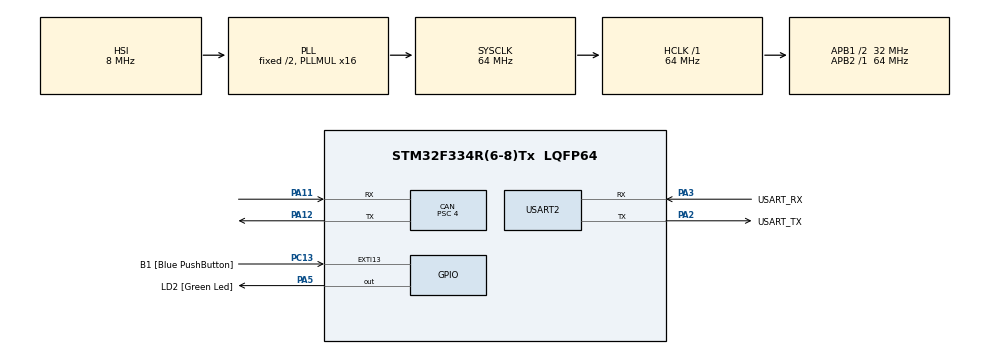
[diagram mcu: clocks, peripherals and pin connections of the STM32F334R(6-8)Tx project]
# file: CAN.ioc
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CAN.ABOM=ENABLE
CAN.BS1=CAN_BS1_13TQ
CAN.BS2=CAN_BS2_4TQ
CAN.CalculateBaudRate=444444
CAN.CalculateTimeBit=2250
CAN.CalculateTimeQuantum=125.0
CAN.Mode=CAN_MODE_LOOPBACK
CAN.NART=ENABLE
CAN.Prescaler=4
Mcu.Family=STM32F3
Mcu.Name=STM32F334R(6-8)Tx
Mcu.Package=LQFP64
NVIC.CAN_RX0_IRQn=true\:0\:0\:false\:false\:true\:true\:true\:true
NVIC.PriorityGroup=NVIC_PRIORITYGROUP_0
PA11.Mode=CAN_Activate
PA11.Signal=CAN_RX
PA12.Mode=CAN_Activate
PA12.Signal=CAN_TX
PA13.GPIO_Label=TMS
PA13.Mode=Serial_Wire
PA13.Signal=SYS_JTMS-SWDIO
PA14.GPIO_Label=TCK
PA14.Mode=Serial_Wire
PA14.Signal=SYS_JTCK-SWCLK
PA2.GPIO_Label=USART_TX
PA2.Mode=Asynchronous
PA2.Signal=USART2_TX
PA3.GPIO_Label=USART_RX
PA3.Mode=Asynchronous
PA3.Signal=USART2_RX
PA5.GPIO_Label=LD2 [Green Led]
PA5.Signal=GPIO_Output
PB3.GPIO_Label=SWO
PB3.Signal=SYS_JTDO-TRACESWO
PC13.GPIO_Label=B1 [Blue PushButton]
PC13.GPIO_ModeDefaultEXTI=GPIO_MODE_IT_FALLING
PC13.Signal=GPXTI13
PC14\ /\ OSC32_IN.Mode=LSE-External-Oscillator
PC14\ /\ OSC32_IN.Signal=RCC_OSC32_IN
PC15\ /\ OSC32_OUT.GPIO_Label=RCC_OSC32_OUT
PC15\ /\ OSC32_OUT.Mode=LSE-External-Oscillator
PC15\ /\ OSC32_OUT.Signal=RCC_OSC32_OUT
PF0\ /\ OSC_IN.Mode=HSE-External-Clock-Source
PF0\ /\ OSC_IN.Signal=RCC_OSC_IN
PF1\ /\ OSC_OUT.Signal=RCC_OSC_OUT
ProjectManager.HeapSize=0x200
ProjectManager.StackSize=0x400
ProjectManager.TargetToolchain=CMake
RCC.AHBFreq_Value=64000000
RCC.APB1CLKDivider=RCC_HCLK_DIV2
RCC.APB1Freq_Value=32000000
RCC.APB1TimFreq_Value=64000000
RCC.APB2Freq_Value=64000000
RCC.APB2TimFreq_Value=64000000
RCC.CortexFreq_Value=64000000
RCC.FLatency-AdvancedSettings=FLASH_LATENCY_2
RCC.HCLKFreq_Value=64000000
RCC.HSE_VALUE=8000000
RCC.HSI_VALUE=8000000
RCC.PLLMUL=RCC_PLL_MUL16
RCC.SYSCLKFreq_VALUE=64000000
RCC.SYSCLKSourceVirtual=RCC_SYSCLKSOURCE_PLLCLK
USART2.VirtualMode-Asynchronous=VM_ASYNC
board=NUCLEO-F334R8

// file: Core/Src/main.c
/* USER CODE BEGIN Header */
/**
  ******************************************************************************
  * @file           : main.c
  * @brief          : Main program body
  ******************************************************************************
  * @attention
  *
  * Copyright (c) 2026 STMicroelectronics.
  * All rights reserved.
  *
  * This software is licensed under terms that can be found in the LICENSE file
  * in the root directory of this software component.
  * If no LICENSE file comes with this software, it is provided AS-IS.
  *
  ******************************************************************************
  */
/* USER CODE END Header */
#include "main.h"
#include "can.h"
#include "stm32f3xx_hal_can.h"
#include "usart.h"
#include "gpio.h"

/* USER CODE BEGIN PV */
CAN_FilterTypeDef sFilterConfig;
CAN_TxHeaderTypeDef TxHeader;
uint8_t TxData[8] = {8, 4, 5, 8, 8, 6, 2, 4};
uint32_t TxMailbox;

CAN_RxHeaderTypeDef RxHeader;
uint8_t RxData[8];

/* USER CODE END PV */

void SystemClock_Config(void);

int main(void)
{

  /* MCU Configuration--------------------------------------------------------*/

  /* Reset of all peripherals, Initializes the Flash interface and the Systick. */
  HAL_Init();

  /* Configure the system clock */
  SystemClock_Config();

  /* Initialize all configured peripherals */
  MX_GPIO_Init();
  MX_CAN_Init();
  MX_USART2_UART_Init();
  /* USER CODE BEGIN 2 */
  sFilterConfig.FilterBank = 0;
  sFilterConfig.FilterMode = CAN_FILTERMODE_IDMASK;
  sFilterConfig.FilterScale = CAN_FILTERSCALE_32BIT;
  sFilterConfig.FilterIdHigh = 0x0000;
  sFilterConfig.FilterIdLow = 0x0000;
  sFilterConfig.FilterMaskIdHigh = 0x0000;
  sFilterConfig.FilterMaskIdLow = 0x0000;
  sFilterConfig.FilterFIFOAssignment = CAN_FILTER_FIFO0;
  sFilterConfig.FilterActivation = ENABLE;
  sFilterConfig.SlaveStartFilterBank = 14;

  HAL_CAN_ConfigFilter(&hcan, &sFilterConfig);

  HAL_CAN_Start(&hcan);

  HAL_CAN_ActivateNotification(&hcan, CAN_IT_RX_FIFO0_MSG_PENDING);

  TxHeader.StdId = 0x123;
  TxHeader.ExtId = 0x00;
  TxHeader.RTR = CAN_RTR_DATA;
  TxHeader.IDE = CAN_ID_STD;
  TxHeader.DLC = 8;
  TxHeader.TransmitGlobalTime = DISABLE;

  HAL_CAN_AddTxMessage(&hcan, &TxHeader, TxData, &TxMailbox);

  /* USER CODE END 2 */

  /* Infinite loop */
  while (1)
  {

    /* USER CODE BEGIN 3 */
    HAL_CAN_AddTxMessage(&hcan, &TxHeader, TxData, &TxMailbox);
    HAL_Delay(500);
  }
  /* USER CODE END 3 */
}

void SystemClock_Config(void)
{
  RCC_OscInitTypeDef RCC_OscInitStruct = {0};
  RCC_ClkInitTypeDef RCC_ClkInitStruct = {0};

  /** Initializes the RCC Oscillators according to the specified parameters
  * in the RCC_OscInitTypeDef structure.
  */
  RCC_OscInitStruct.OscillatorType = RCC_OSCILLATORTYPE_HSI;
  RCC_OscInitStruct.HSIState = RCC_HSI_ON;
  RCC_OscInitStruct.HSICalibrationValue = RCC_HSICALIBRATION_DEFAULT;
  RCC_OscInitStruct.PLL.PLLState = RCC_PLL_ON;
  RCC_OscInitStruct.PLL.PLLSource = RCC_PLLSOURCE_HSI;
  RCC_OscInitStruct.PLL.PLLMUL = RCC_PLL_MUL16;
  if (HAL_RCC_OscConfig(&RCC_OscInitStruct) != HAL_OK)
  {
    Error_Handler();
  }

  /** Initializes the CPU, AHB and APB buses clocks
  */
  RCC_ClkInitStruct.ClockType = RCC_CLOCKTYPE_HCLK|RCC_CLOCKTYPE_SYSCLK
                              |RCC_CLOCKTYPE_PCLK1|RCC_CLOCKTYPE_PCLK2;
  RCC_ClkInitStruct.SYSCLKSource = RCC_SYSCLKSOURCE_PLLCLK;
  RCC_ClkInitStruct.AHBCLKDivider = RCC_SYSCLK_DIV1;
  RCC_ClkInitStruct.APB1CLKDivider = RCC_HCLK_DIV2;
  RCC_ClkInitStruct.APB2CLKDivider = RCC_HCLK_DIV1;

  if (HAL_RCC_ClockConfig(&RCC_ClkInitStruct, FLASH_LATENCY_2) != HAL_OK)
  {
    Error_Handler();
  }
}

/* USER CODE BEGIN 4 */
void HAL_CAN_RxFifo0MsgPendingCallback(CAN_HandleTypeDef *hcan){
  HAL_CAN_GetRxMessage(hcan, CAN_RX_FIFO0, &RxHeader, RxData);
  HAL_GPIO_TogglePin(GPIOA,  GPIO_PIN_5);

}

/* USER CODE END 4 */

void Error_Handler(void)
{
  __disable_irq();
  while (1)
  {
  }
}
